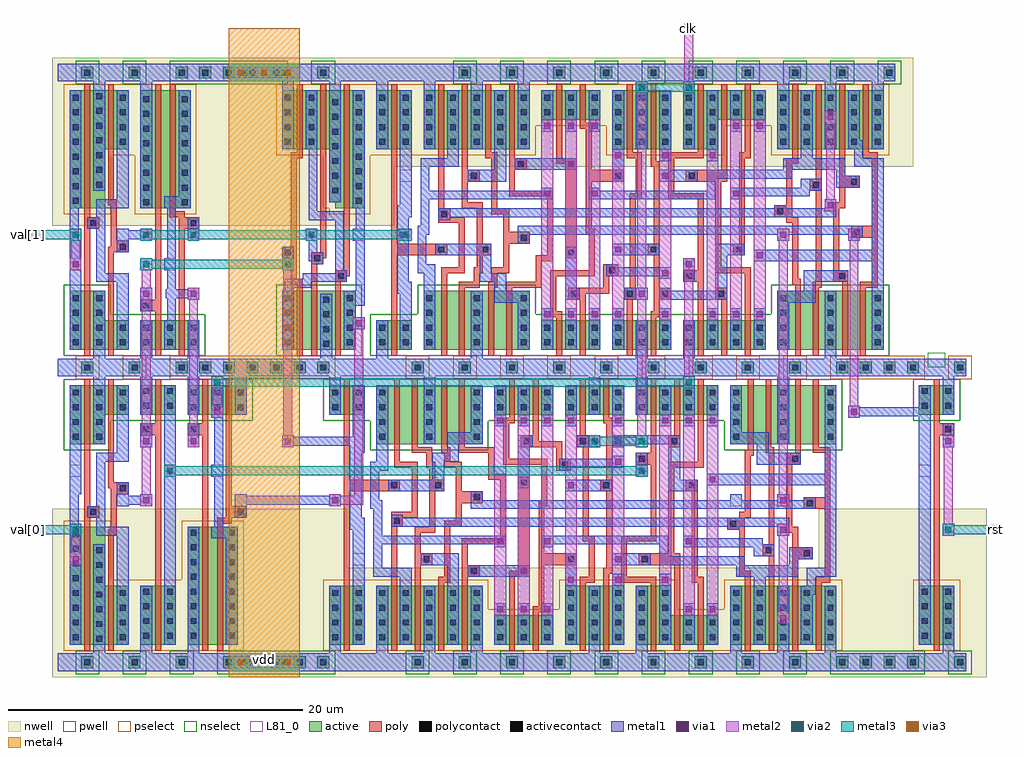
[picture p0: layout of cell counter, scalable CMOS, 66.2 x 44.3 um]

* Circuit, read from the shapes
.subckt counter clk gnd rst val[0] val[1] vdd
M1 gnd n1 val[0] gnd nfet w=4u l=0.4u
M2 gnd n2 val[1] gnd nfet w=4u l=0.4u
M3 n1 BUFX2_1/A gnd gnd nfet w=2u l=0.4u
M4 n2 BUFX2_0/A gnd gnd nfet w=2u l=0.4u
M5 DFFSR_17/D BUFX2_1/A gnd gnd nfet w=2u l=0.4u
M6 NOR2X1_3/A BUFX2_1/A gnd gnd nfet w=2u l=0.4u
M7 gnd BUFX2_0/A NOR2X1_3/A gnd nfet w=2u l=0.4u
M8 DFFSR_16/D NOR2X1_3/A gnd gnd nfet w=2u l=0.4u
M9 gnd n3 DFFSR_16/D gnd nfet w=2u l=0.4u
M10 n4 BUFX2_1/A n5 gnd nfet w=4u l=0.4u
M11 gnd BUFX2_0/A n4 gnd nfet w=4u l=0.4u
M12 n3 n5 gnd gnd nfet w=4u l=0.4u
M13 BUFX2_1/A n6 gnd gnd nfet w=2u l=0.4u
M14 BUFX2_0/A n7 gnd gnd nfet w=2u l=0.4u
M15 n8 vdd n9 gnd nfet w=4u l=0.4u
M16 gnd n6 n8 gnd nfet w=4u l=0.4u
M17 n10 DFFSR_16/R gnd gnd nfet w=4u l=0.4u
M18 n11 vdd n12 gnd nfet w=4u l=0.4u
M19 n6 n13 n10 gnd nfet w=4u l=0.4u
M20 gnd n7 n11 gnd nfet w=4u l=0.4u
M21 n14 DFFSR_16/R gnd gnd nfet w=4u l=0.4u
M22 n7 n15 n14 gnd nfet w=4u l=0.4u
M23 n13 n16 n9 gnd nfet w=2u l=0.4u
M24 n17 n18 n13 gnd nfet w=2u l=0.4u
M25 n15 n19 n12 gnd nfet w=2u l=0.4u
M26 gnd clk n16 gnd nfet w=2u l=0.4u
M27 n20 n21 n15 gnd nfet w=2u l=0.4u
M28 n18 n16 gnd gnd nfet w=2u l=0.4u
M29 gnd clk n19 gnd nfet w=2u l=0.4u
M30 n22 DFFSR_17/D gnd gnd nfet w=2u l=0.4u
M31 n21 n19 gnd gnd nfet w=2u l=0.4u
M32 n23 n16 n22 gnd nfet w=2u l=0.4u
M33 n24 n18 n23 gnd nfet w=2u l=0.4u
M34 n25 DFFSR_16/D gnd gnd nfet w=2u l=0.4u
M35 n26 n19 n25 gnd nfet w=2u l=0.4u
M36 n27 n21 n26 gnd nfet w=2u l=0.4u
M37 n28 vdd n17 gnd nfet w=4u l=0.4u
M38 gnd n23 n28 gnd nfet w=4u l=0.4u
M39 n29 n17 gnd gnd nfet w=4u l=0.4u
M40 n30 vdd n20 gnd nfet w=4u l=0.4u
M41 n24 DFFSR_16/R n29 gnd nfet w=4u l=0.4u
M42 gnd n26 n30 gnd nfet w=4u l=0.4u
M43 n31 n20 gnd gnd nfet w=4u l=0.4u
M44 n27 DFFSR_16/R n31 gnd nfet w=4u l=0.4u
M45 gnd rst DFFSR_16/R gnd nfet w=2u l=0.4u
M46 vdd n1 val[0] vdd pfet w=8u l=0.4u
M47 vdd n2 val[1] vdd pfet w=8u l=0.4u
M48 n1 BUFX2_1/A vdd vdd pfet w=4u l=0.4u
M49 n2 BUFX2_0/A vdd vdd pfet w=4u l=0.4u
M50 DFFSR_17/D BUFX2_1/A vdd vdd pfet w=4u l=0.4u
M51 n32 BUFX2_1/A vdd vdd pfet w=8u l=0.4u
M52 NOR2X1_3/A BUFX2_0/A n32 vdd pfet w=8u l=0.4u
M53 n33 NOR2X1_3/A vdd vdd pfet w=8u l=0.4u
M54 DFFSR_16/D n3 n33 vdd pfet w=8u l=0.4u
M55 n5 BUFX2_1/A vdd vdd pfet w=4u l=0.4u
M56 vdd BUFX2_0/A n5 vdd pfet w=4u l=0.4u
M57 BUFX2_1/A n6 vdd vdd pfet w=4u l=0.4u
M58 n3 n5 vdd vdd pfet w=8u l=0.4u
M59 n9 vdd vdd vdd pfet w=4u l=0.4u
M60 BUFX2_0/A n7 vdd vdd pfet w=4u l=0.4u
M61 vdd n6 n9 vdd pfet w=4u l=0.4u
M62 n6 DFFSR_16/R vdd vdd pfet w=4u l=0.4u
M63 n12 vdd vdd vdd pfet w=4u l=0.4u
M64 vdd n13 n6 vdd pfet w=4u l=0.4u
M65 vdd n7 n12 vdd pfet w=4u l=0.4u
M66 n7 DFFSR_16/R vdd vdd pfet w=4u l=0.4u
M67 n13 n18 n9 vdd pfet w=2u l=0.4u
M68 vdd n15 n7 vdd pfet w=4u l=0.4u
M69 n17 n16 n13 vdd pfet w=2u l=0.4u
M70 n15 n21 n12 vdd pfet w=2u l=0.4u
M71 vdd clk n16 vdd pfet w=4u l=0.4u
M72 n20 n19 n15 vdd pfet w=2u l=0.4u
M73 n18 n16 vdd vdd pfet w=4u l=0.4u
M74 vdd clk n19 vdd pfet w=4u l=0.4u
M75 n22 DFFSR_17/D vdd vdd pfet w=4u l=0.4u
M76 n21 n19 vdd vdd pfet w=4u l=0.4u
M77 n23 n18 n22 vdd pfet w=2u l=0.4u
M78 n24 n16 n23 vdd pfet w=2u l=0.4u
M79 n25 DFFSR_16/D vdd vdd pfet w=4u l=0.4u
M80 n26 n21 n25 vdd pfet w=2u l=0.4u
M81 n17 vdd vdd vdd pfet w=4u l=0.4u
M82 n27 n19 n26 vdd pfet w=2u l=0.4u
M83 vdd n23 n17 vdd pfet w=4u l=0.4u
M84 n24 n17 vdd vdd pfet w=4u l=0.4u
M85 n20 vdd vdd vdd pfet w=4u l=0.4u
M86 vdd DFFSR_16/R n24 vdd pfet w=4u l=0.4u
M87 vdd n26 n20 vdd pfet w=4u l=0.4u
M88 n27 n20 vdd vdd pfet w=4u l=0.4u
M89 vdd DFFSR_16/R n27 vdd pfet w=4u l=0.4u
M90 vdd rst DFFSR_16/R vdd pfet w=4u l=0.4u
.ends

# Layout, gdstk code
from math import pi, radians
import gdstk
lib = gdstk.Library(unit=1e-6, precision=1e-09)
def R(c, l, rs):  # rectangles x0, y0, x1, y1
    for r in rs: c.add(gdstk.rectangle(r[:2], r[2:], *l))
def A(c, l, x, y, w, h, nx, ny, dx, dy):  # array of equal rectangles
    R(c, l, [(x+i*dx, y+j*dy, x+i*dx+w, y+j*dy+h) for i in range(nx) for j in range(ny)])
via3 = (30, 0)
metal4 = (31, 0)
pwell = (41, 0)
nwell = (42, 0)
active = (43, 0)
pselect = (44, 0)
nselect = (45, 0)
poly = (46, 0)
polycontact = (47, 0)
activecontact = (48, 0)
metal1 = (49, 0)
via1 = (50, 0)
metal2 = (51, 0)
via2 = (61, 0)
metal3 = (62, 0)
L81_0 = (81, 0)

bufx2 = lib.new_cell('BUFX2')
R(bufx2, nwell, [(-1,9.6,5.6,21)])
R(bufx2, active, [(-0.4,-0.4,0.4,0.4), (2.8,-0.4,3.6,0.4), (0.4,1.2,4.4,3.2), (2,3.2,4.4,5.2), (2,10.8,4.4,14.8), (0.4,14.8,4.4,18.8), (-0.4,19.6,0.4,20.4), (2.8,19.6,3.6,20.4)])
R(bufx2, pselect, [(-0.8,-0.8,0.8,0.8), (2.4,-0.8,4,0.8), (1.6,10.4,4.8,14.4), (0,14.4,4.8,19.2)])
R(bufx2, nselect, [(0,0.8,4.8,3.6), (1.6,3.6,4.8,5.6), (-0.8,19.2,0.8,20.8), (2.4,19.2,4,20.8)])
R(bufx2, poly, [(1.4,0.8,1.8,7.8), (3,0.8,3.4,9.4), (0.4,7.8,1.8,8.2), (0.4,8.2,1.6,8.6), (1.2,8.6,1.6,11), (2.4,9.4,3.4,10.2), (3,10.2,3.4,19.2), (1.2,11,1.8,11.4), (1.4,11.4,1.8,19.2)])
R(bufx2, polycontact, [(0.6,8,1,8.4), (2.6,9.6,3,10)])
A(bufx2, activecontact, 0.6, 1.5, 0.4, 0.4, 3, 2, 1.6, 1)
A(bufx2, activecontact, 3.8, 11.1, 0.4, 0.4, 1, 8, 0, 1)
A(bufx2, activecontact, 2.2, 12.2, 0.4, 0.4, 1, 7, 0, 1)
A(bufx2, activecontact, 0.6, 15.1, 0.4, 0.4, 1, 4, 0, 1)
R(bufx2, activecontact, [(-0.2,-0.2,0.2,0.2), (3,-0.2,3.4,0.2), (2.2,3.5,2.6,3.9), (3.8,3.5,4.2,3.9), (2.2,4.5,2.6,4.9), (3.8,4.5,4.2,4.9), (-0.2,19.8,0.2,20.2), (3,19.8,3.4,20.2)])
R(bufx2, metal1, [(-0.4,-0.6,5.2,0.6), (2,0.6,2.8,5.2), (0.4,1.2,1.2,5.8), (3.6,1.2,4.4,8.6), (0.4,5.8,2.6,6.4), (2,6.4,2.6,9.4), (0.4,7.8,1.2,9.4), (3.8,8.6,4.4,10.8), (2,9.4,3.2,10.2), (2,10.2,2.6,10.8), (0.4,10.8,2.6,11.4), (3.6,10.8,4.4,18.8), (0.4,11.4,1.2,18.8), (2,12,2.8,19.4), (-0.4,19.4,5.2,20.6)])
R(bufx2, L81_0, [(3.6,6.6,4.4,7.4), (0.4,8.6,1.2,9.4)])
bufx2.add(gdstk.Label('vdd', (0.8,20), layer=109, texttype=0))
bufx2.add(gdstk.Label('gnd', (0.8,0), layer=109, texttype=0))
bufx2.add(gdstk.Label('A', (0.8,9), layer=109, texttype=0))
bufx2.add(gdstk.Label('Y', (4,7), layer=109, texttype=0))

nor2x1 = lib.new_cell('NOR2X1')
R(nor2x1, nwell, [(-1.6,9.6,6.4,21)])
R(nor2x1, active, [(-0.4,-0.4,0.4,0.4), (2.8,-0.4,3.6,0.4), (0.4,1.2,4.4,3.2), (0.4,10.8,3.8,18.8), (-0.4,19.6,0.4,20.4), (2.8,19.6,3.6,20.4)])
R(nor2x1, pselect, [(-0.8,-0.8,0.8,0.8), (2.4,-0.8,4,0.8), (0,10.4,4.2,19.2)])
R(nor2x1, nselect, [(0,0.8,4.8,3.6), (-0.8,19.2,0.8,20.8), (2.4,19.2,4,20.8)])
R(nor2x1, poly, [(1.4,0.8,1.8,3.8), (3,0.8,3.4,9.4), (0.4,3.8,1.8,4.6), (1.4,4.6,1.8,19.2), (3,9.4,4.4,10.2), (2.4,10.2,3.4,10.6), (2.4,10.6,2.8,19.2)])
R(nor2x1, polycontact, [(0.6,4,1,4.4), (3.8,9.6,4.2,10)])
A(nor2x1, activecontact, 0.6, 1.5, 0.4, 0.4, 3, 2, 1.6, 1)
A(nor2x1, activecontact, 0.6, 11, 0.4, 0.4, 1, 8, 0, 1)
A(nor2x1, activecontact, 3.2, 11, 0.4, 0.4, 1, 8, 0, 1)
R(nor2x1, activecontact, [(-0.2,-0.2,0.2,0.2), (3,-0.2,3.4,0.2), (-0.2,19.8,0.2,20.2), (3,19.8,3.4,20.2)])
R(nor2x1, metal1, [(-0.4,-0.6,5.2,0.6), (0.4,0.6,1.2,3.2), (3.6,0.6,4.4,3.2), (2,1.2,2.8,3.2), (2.2,3.2,2.8,6.6), (0.4,3.8,1.2,5.4), (2,6.6,2.8,7.4), (2.2,7.4,2.8,10.8), (3.6,8.6,4.4,10.2), (0.4,10.8,1.2,19.4), (2,10.8,3.8,11.6), (3,11.6,3.8,18.8), (-0.4,19.4,5.2,20.6)])
R(nor2x1, L81_0, [(0.4,4.6,1.2,5.4), (2,6.6,2.8,7.4), (3.6,8.6,4.4,9.4)])
nor2x1.add(gdstk.Label('vdd', (0.8,20), layer=109, texttype=0))
nor2x1.add(gdstk.Label('B', (4,9), layer=109, texttype=0))
nor2x1.add(gdstk.Label('gnd', (0.8,0), layer=109, texttype=0))
nor2x1.add(gdstk.Label('Y', (2.4,7), layer=109, texttype=0))
nor2x1.add(gdstk.Label('A', (0.8,5), layer=109, texttype=0))

fill = lib.new_cell('FILL')
R(fill, nwell, [(-1.6,9.6,3.2,21)])
R(fill, active, [(-0.4,-0.4,0.4,0.4), (1.2,-0.4,2,0.4), (-0.4,19.6,0.4,20.4), (1.2,19.6,2,20.4)])
R(fill, pselect, [(-0.8,-0.8,2.4,0.8)])
R(fill, nselect, [(-0.8,19.2,2.4,20.8)])
R(fill, activecontact, [(-0.2,-0.2,0.2,0.2), (1.4,-0.2,1.8,0.2), (-0.2,19.8,0.2,20.2), (1.4,19.8,1.8,20.2)])
R(fill, metal1, [(-0.4,-0.6,2,0.6), (-0.4,19.4,2,20.6)])
fill.add(gdstk.Label('vdd', (0.8,20), layer=109, texttype=0))
fill.add(gdstk.Label('gnd', (0.8,0), layer=109, texttype=0))

invx1 = lib.new_cell('INVX1')
R(invx1, nwell, [(-1.8,9.6,5.2,21)])
R(invx1, active, [(-0.4,-0.4,0.4,0.4), (0.4,1.2,2.8,3.2), (0.4,14.8,2.8,18.8), (-0.4,19.6,0.4,20.4)])
R(invx1, pselect, [(-0.8,-0.8,0.8,0.8), (0,14.4,3.2,19.2)])
R(invx1, nselect, [(0,0.8,3.2,3.6), (-0.8,19.2,0.8,20.8)])
R(invx1, poly, [(1.4,0.8,1.8,3.8), (0.4,3.8,1.8,4.6), (1.4,4.6,1.8,19.2)])
R(invx1, polycontact, [(0.6,4,1,4.4)])
A(invx1, activecontact, 0.6, 15, 0.4, 0.4, 1, 4, 0, 1)
A(invx1, activecontact, 2.2, 15, 0.4, 0.4, 1, 4, 0, 1)
R(invx1, activecontact, [(-0.2,-0.2,0.2,0.2), (0.6,1.4,1,1.8), (2.2,1.4,2.6,1.8), (0.6,2.4,1,2.8), (2.2,2.4,2.6,2.8), (-0.2,19.8,0.2,20.2)])
R(invx1, metal1, [(-0.4,-0.6,3.6,0.6), (0.4,0.6,1.2,3.2), (2,1.2,2.8,18.8), (0.4,3.8,1.2,5.4), (0.4,14.8,1.2,19.4), (-0.4,19.4,3.6,20.6)])
R(invx1, L81_0, [(0.4,4.6,1.2,5.4), (2,6.6,2.8,7.4)])
invx1.add(gdstk.Label('A', (0.8,5), layer=109, texttype=0))
invx1.add(gdstk.Label('Y', (2.4,7), layer=109, texttype=0))
invx1.add(gdstk.Label('vdd', (0.8,20), layer=109, texttype=0))
invx1.add(gdstk.Label('gnd', (0.8,0), layer=109, texttype=0))

and2x2 = lib.new_cell('AND2X2')
R(and2x2, nwell, [(-1.6,9.6,8,21)])
R(and2x2, active, [(-0.4,-0.4,0.4,0.4), (2.8,-0.4,3.6,0.4), (0.4,1.2,5.4,5.2), (4,10.8,6,11.2), (3.6,11.2,6,14.8), (0.4,14.8,6,18.8), (-0.4,19.6,0.4,20.4), (2.8,19.6,3.6,20.4)])
R(and2x2, pselect, [(-0.8,-0.8,0.8,0.8), (2.4,-0.8,4,0.8), (3.6,10.4,6.4,10.8), (3.2,10.8,6.4,14.4), (0,14.4,6.4,19.2)])
R(and2x2, nselect, [(0,0.8,5.8,5.6), (-0.8,19.2,0.8,20.8), (2.4,19.2,4,20.8)])
R(and2x2, poly, [(1.4,0.8,1.8,5.6), (2.4,0.8,2.8,7), (4,0.8,4.4,5.8), (1,5.6,1.8,6), (4,5.8,4.8,6.2), (1,6,1.4,7.4), (4,6.2,5,6.6), (4.6,6.6,5,19.2), (2.4,7,3.2,7.4), (0.4,7.4,1.4,8.2), (2.4,7.4,3.4,7.8), (3,7.8,3.4,19.2), (1,8.2,1.4,14.2), (1,14.2,1.8,14.6), (1.4,14.6,1.8,19.2)])
R(and2x2, polycontact, [(4.2,6,4.6,6.4), (2.6,7.2,3,7.6), (0.6,7.6,1,8)])
A(and2x2, activecontact, 3.2, 1.4, 0.4, 0.4, 1, 4, 0, 1)
A(and2x2, activecontact, 0.6, 1.5, 0.4, 0.4, 1, 4, 0, 1)
A(and2x2, activecontact, 4.8, 1.5, 0.4, 0.4, 1, 4, 0, 1)
A(and2x2, activecontact, 5.4, 11.1, 0.4, 0.4, 1, 8, 0, 1)
A(and2x2, activecontact, 3.8, 11.8, 0.4, 0.4, 1, 7, 0, 1)
A(and2x2, activecontact, 0.6, 15.1, 0.4, 0.4, 1, 4, 0, 1)
A(and2x2, activecontact, 2.2, 15.1, 0.4, 0.4, 1, 4, 0, 1)
R(and2x2, activecontact, [(-0.2,-0.2,0.2,0.2), (3,-0.2,3.4,0.2), (-0.2,19.8,0.2,20.2), (3,19.8,3.4,20.2)])
R(and2x2, metal1, [(-0.4,-0.6,6.8,0.6), (3,0.6,3.8,5), (0.4,1.2,1.2,5.2), (4.6,1.2,5.4,4.2), (4.6,4.2,6,5.2), (0.6,5.2,1.2,5.4), (5.4,5.2,6,8.6), (0.6,5.4,2.4,5.8), (0.6,5.8,4.8,6), (1.8,6,4.8,6.4), (4,6.4,4.8,6.6), (0.4,6.6,1.2,8.2), (4,6.6,4.6,10), (2.4,7,3.2,7.2), (2.2,7.2,3.2,7.8), (2.2,7.8,2.8,8.6), (2,8.6,2.8,9.4), (5.2,8.6,6,9.4), (5.4,9.4,6,10.8), (2.2,10,4.6,10.6), (2.2,10.6,2.8,14.8), (5.2,10.8,6,18.8), (3.6,11.2,4.4,19.4), (0.4,14.8,1.2,19.4), (2,14.8,2.8,18.8), (-0.4,19.4,6.8,20.6)])
R(and2x2, L81_0, [(0.4,6.6,1.2,7.4), (2,8.6,2.8,9.4), (5.2,8.6,6,9.4)])
and2x2.add(gdstk.Label('vdd', (0.8,20), layer=109, texttype=0))
and2x2.add(gdstk.Label('gnd', (0.8,0), layer=109, texttype=0))
and2x2.add(gdstk.Label('A', (0.8,7), layer=109, texttype=0))
and2x2.add(gdstk.Label('B', (2.4,9), layer=109, texttype=0))
and2x2.add(gdstk.Label('Y', (5.6,9), layer=109, texttype=0))

dffsr = lib.new_cell('DFFSR')
R(dffsr, nwell, [(-1.6,13.6,36.8,21)])
A(dffsr, active, -0.4, -0.4, 0.8, 0.8, 10, 2, 3.2, 20)
R(dffsr, active, [(0.4,1.2,7.6,5.2), (8.4,1.2,14,3.2), (14.8,1.2,18.8,3.2), (19.6,1.2,23.6,3.2), (24.4,1.2,31.6,5.2), (32.4,1.2,34.8,3.2), (0.4,14.8,7.6,18.8), (11.6,14.8,14,16.8), (14.8,14.8,18.8,18.8), (24.4,14.8,31.6,18.8), (32.4,14.8,34.8,18.8), (8.4,16.8,14,18.8), (19.6,16.8,23.6,18.8)])
A(dffsr, pselect, -0.8, -0.8, 1.6, 1.6, 10, 1, 3.2, 0)
R(dffsr, pselect, [(0,14.4,8,16.4), (11.2,14.4,19.2,16.4), (24,14.4,35.2,16.4), (0,16.4,35.2,19.2)])
A(dffsr, nselect, -0.8, 19.2, 1.6, 1.6, 10, 1, 3.2, 0)
R(dffsr, nselect, [(0,0.8,35.2,3.6), (0,3.6,8,5.6), (24,3.6,32,5.6)])
R(dffsr, poly, [(1.6,0.8,2,5.4), (2.8,0.8,3.2,5.8), (4.8,0.8,5.2,5.4), (6,0.8,6.4,5.6), (9.4,0.8,9.8,6.4), (11,0.8,11.4,4.6), (12.6,0.8,13,5.8), (15.8,0.8,16.2,3.4), (17.4,0.8,17.8,4.6), (20.6,0.8,21,4.6), (22.2,0.8,22.6,3.4), (25.6,0.8,26,5.4), (26.8,0.8,27.2,5.4), (28.8,0.8,29.2,5.4), (30,0.8,30.4,6.4), (33.4,0.8,33.8,7.6), (15.6,3.4,16.2,3.8), (22.2,3.4,23,3.8), (15.6,3.8,16,4.6), (22.6,3.8,23,6.2), (11,4.6,11.8,5.4), (14.8,4.6,16,5.4), (17.2,4.6,18,5.4), (20.6,4.6,21.8,5), (19,5,21.8,5.4), (0.8,5.4,2,5.8), (4.6,5.4,5.2,5.8), (15.6,5.4,16,7.6), (17.2,5.4,17.6,11.4), (19,5.4,19.4,6.2), (23.6,5.4,26,5.8), (26.6,5.4,27.2,5.8), (27.8,5.4,29.2,5.8), (6,5.6,6.6,6), (0.8,5.8,1.2,8.8), (2.8,5.8,3.8,6.6), (4.6,5.8,5,12), (12.6,5.8,14,6.6), (23.6,5.8,24,7.2), (26.6,5.8,27,6.4), (27.8,5.8,28.2,6.4), (6.2,6,6.6,9.8), (18.4,6.2,19.4,7), (20,6.2,23,6.6), (9.4,6.4,11.8,6.8), (25.8,6.4,27,6.8), (27.6,6.4,28.2,6.8), (28.8,6.4,30.4,6.8), (3.4,6.6,3.8,10.8), (12.6,6.6,13,11.4), (20,6.6,20.4,9), (11.4,6.8,11.8,12.6), (25.8,6.8,26.2,8.4), (27.6,6.8,28,7.6), (28.8,6.8,29.2,9.8), (22.8,7.2,24,7.6), (21.2,7.4,22,13.8), (9.8,7.6,10.6,8.4), (15.6,7.6,16.4,8.4), (22.8,7.6,23.2,11.6), (27,7.6,28,8.4), (30,7.6,33.8,8.4), (9.8,8.4,10.2,14.2), (15.6,8.4,16,13.6), (24.4,8.4,26.2,9.2), (27.6,8.4,28,10.8), (33.4,8.4,33.8,19.2), (0.8,8.8,2.6,9.6), (20,9,20.6,9.4), (25.8,9.2,26.2,10.4), (20.2,9.4,20.6,12.6), (0.8,9.6,1.2,14.2), (6.2,9.8,7,10.2), (28.8,9.8,30.6,10.2), (6.6,10.2,7.8,11), (29.8,10.2,30.6,10.8), (25.8,10.4,27,10.8), (3,10.8,3.8,11.2), (26.6,10.8,27,14.2), (27.6,10.8,29,11.2), (30.2,10.8,30.6,19.2), (6.6,11,7,13.8), (3,11.2,3.4,12.2), (28.6,11.2,29,12.6), (12.6,11.4,15,11.8), (16.8,11.4,17.6,11.8), (22.8,11.6,25.8,12), (14.6,11.8,15,14.2), (16.8,11.8,17.2,14.2), (4.6,12,5.4,12.8), (25.4,12,25.8,13.4), (2,12.2,3.4,13), (11,12.6,13.8,13.4), (18,12.6,20.6,13.4), (27.8,12.6,29,13.4), (4.6,12.8,5,19.2), (3,13,3.4,19.2), (11,13.4,11.4,19.2), (20.2,13.4,20.6,16.2), (24.6,13.4,25.8,14.2), (28.6,13.4,29,19.2), (15.6,13.6,16.2,14), (6.2,13.8,7,14.2), (21.2,13.8,22.6,14.2), (15.8,14,16.2,19.2), (0.8,14.2,1.8,14.6), (6.2,14.2,6.6,19.2), (9.4,14.2,10.2,14.6), (12.6,14.2,15,14.6), (16.8,14.2,17.8,14.6), (22.2,14.2,22.6,19.2), (25.4,14.2,25.8,19.2), (26.6,14.2,27.4,14.6), (1.4,14.6,1.8,19.2), (9.4,14.6,9.8,19.2), (12.6,14.6,13,19.2), (17.4,14.6,17.8,19.2), (27,14.6,27.4,19.2), (20.2,16.2,21,16.6), (20.6,16.6,21,19.2)])
R(dffsr, polycontact, [(11.2,4.8,11.6,5.2), (15,4.8,15.4,5.2), (17.4,4.8,17.8,5.2), (21.2,4.8,21.6,5.2), (3,6,3.4,6.4), (13.4,6,13.8,6.4), (18.6,6.4,19,6.8), (21.4,7.6,21.8,8), (10,7.8,10.4,8.2), (15.8,7.8,16.2,8.2), (27.2,7.8,27.6,8.2), (30.2,7.8,30.6,8.2), (24.6,8.6,25,9), (2,9,2.4,9.4), (30,10.2,30.4,10.6), (7.2,10.4,7.6,10.8), (4.8,12.2,5.2,12.6), (2.2,12.4,2.6,12.8), (13.2,12.8,13.6,13.2), (18.2,12.8,18.6,13.2), (28,12.8,28.4,13.2), (24.8,13.6,25.2,14)])
A(dffsr, activecontact, -0.2, -0.2, 0.4, 0.4, 10, 2, 3.2, 20)
A(dffsr, activecontact, 0.6, 1.5, 0.4, 0.4, 3, 4, 3.2, 1)
A(dffsr, activecontact, 8.6, 1.5, 0.4, 0.4, 11, 2, 1.6, 1)
A(dffsr, activecontact, 31, 1.5, 0.4, 0.4, 3, 2, 1.6, 1)
A(dffsr, activecontact, 24.6, 3.5, 0.4, 0.4, 3, 2, 3.2, 1)
A(dffsr, activecontact, 0.6, 15.1, 0.4, 0.4, 5, 2, 1.6, 1)
A(dffsr, activecontact, 11.8, 15.1, 0.4, 0.4, 5, 2, 1.6, 1)
A(dffsr, activecontact, 24.6, 15.1, 0.4, 0.4, 7, 2, 1.6, 1)
A(dffsr, activecontact, 0.6, 17.1, 0.4, 0.4, 22, 2, 1.6, 1)
R(dffsr, activecontact, [(27.8,1.5,28.2,1.9), (27.8,2.5,28.2,2.9)])
A(dffsr, metal1, 8.4, 1.2, 0.8, 2.8, 3, 1, 1.6, 0)
A(dffsr, metal1, 18, 1.2, 0.8, 2.8, 4, 1, 1.6, 0)
A(dffsr, metal1, 0.4, 14.8, 0.8, 4.6, 3, 1, 3.2, 0)
A(dffsr, metal1, 24.4, 14.8, 0.8, 4.6, 4, 1, 3.2, 0)
A(dffsr, metal1, 19.6, 16, 0.8, 2.8, 3, 1, 1.6, 0)
R(dffsr, metal1, [(-0.4,-0.6,35.6,0.6), (3.6,0.6,4.4,5.2), (13.2,0.6,14,3.2), (16.4,0.6,17.2,3.2), (27.6,0.6,28.4,5.2), (34,0.6,34.8,3.2), (0.4,1.2,1.2,7.2), (6.8,1.2,7.6,4.4), (14.8,1.2,15.6,4), (24.4,1.2,25.2,4.4), (30.8,1.2,31.6,6.4), (32.4,1.2,33.2,5), (5,4.4,7.6,5.2), (24.4,4.4,26.8,5.2), (11,4.6,15.6,5.2), (16.4,4.6,18,5.4), (21,4.6,22,5.4), (32.4,5,33.4,5.8), (5,5.2,5.8,5.8), (11,5.2,11.8,7.6), (14.8,5.2,15.6,5.4), (26,5.2,26.8,5.8), (21.2,5.4,22,8.2), (2.8,5.8,5.8,6.6), (13.2,5.8,14,7.4), (26,5.8,27.8,6.4), (32.6,5.8,33.4,10.2), (14.8,6,15.6,6.2), (14.8,6.2,19.2,6.8), (27,6.4,27.8,7.6), (30.8,6.4,32,7), (18.4,6.8,19.2,7), (31.4,7,32,9), (0.4,7.2,9.2,8), (9.8,7.6,11.8,8.4), (15.6,7.6,18.8,8.4), (27,7.6,30.8,8.4), (0.4,8,1.2,13.6), (24.4,8.4,25.2,9), (6.8,8.6,7.6,9), (1.8,8.8,2.6,9), (1.8,9,25.2,9.6), (31.2,9,32,9.6), (31.2,9.6,31.8,11.4), (29.8,10,30.6,10.2), (3.6,10.2,30.6,10.8), (32.4,10.2,33.4,11), (3.6,10.8,4.4,11.4), (7,10.8,7.8,11), (32.4,11,33.2,18.8), (10,11.4,10.8,11.6), (11.8,11.4,20.4,12), (22.8,11.4,31.8,12), (5.4,11.6,10.8,12), (4.6,12,10.8,12.2), (11.8,12,12.4,12.8), (19.6,12,20.4,12.2), (22.8,12,23.6,12.2), (31.2,12,31.8,13.6), (2,12.2,3.6,13), (4.6,12.2,6,12.8), (13,12.6,15.6,13.4), (18,12.6,18.8,18.8), (26,12.6,28.6,13.4), (6.6,12.8,12.4,13.4), (3,13,3.6,13.4), (3,13.4,7.2,14.2), (21.2,13.4,25.4,14.2), (26,13.4,26.8,18.8), (0.4,13.6,2.4,14.2), (29.2,13.6,31.8,14.2), (11.6,14,12.4,18.8), (14.8,14,15.6,18.8), (1.8,14.2,2.4,14.8), (5.2,14.2,6,18.8), (29.2,14.2,30,18.8), (1.8,14.8,2.8,15.4), (13.2,14.8,14,19.4), (16.4,14.8,17.2,19.4), (2,15.4,2.8,18.8), (8.4,16,9.2,18.8), (10,16,10.8,18.8), (-0.4,19.4,35.6,20.6)])
A(dffsr, via1, 8.6, 3.4, 0.4, 0.4, 3, 1, 1.6, 0)
A(dffsr, via1, 18.2, 3.4, 0.4, 0.4, 4, 1, 1.6, 0)
A(dffsr, via1, 11.8, 14.2, 0.4, 0.4, 3, 1, 3.2, 0)
A(dffsr, via1, 19.8, 16.2, 0.4, 0.4, 3, 1, 1.6, 0)
R(dffsr, via1, [(15,3.4,15.4,3.8), (15,6.2,15.4,6.6), (8.6,7.4,9,7.8), (18.2,7.8,18.6,8.2), (10.2,11.6,10.6,12), (19.8,11.6,20.2,12), (23,11.6,23.4,12), (15,12.8,15.4,13.2), (21.4,13.6,21.8,14), (8.6,16.2,9,16.6), (10.2,16.2,10.6,16.6)])
A(dffsr, metal2, 11.6, 3.2, 0.8, 11.6, 3, 1, 3.2, 0)
A(dffsr, metal2, 19.6, 3.2, 0.8, 13.6, 3, 1, 1.6, 0)
R(dffsr, metal2, [(8.4,3.2,9.2,16.8), (10,3.2,10.8,16.8)])
R(dffsr, L81_0, [(16.4,4.6,17.2,5.4), (13.2,6.6,14,7.4), (6.8,8.6,7.6,9.4), (3.6,10.6,4.4,11.4), (32.4,12.6,33.2,13.4)])
dffsr.add(gdstk.Label('gnd', (0.8,0), layer=109, texttype=0))
dffsr.add(gdstk.Label('vdd', (0.8,20), layer=109, texttype=0))
dffsr.add(gdstk.Label('D', (13.6,7), layer=109, texttype=0))
dffsr.add(gdstk.Label('S', (4,11), layer=109, texttype=0))
dffsr.add(gdstk.Label('R', (7.2,9), layer=109, texttype=0))
dffsr.add(gdstk.Label('Q', (32.8,13), layer=109, texttype=0))
dffsr.add(gdstk.Label('CLK', (16.8,5), layer=109, texttype=0))

counter = lib.new_cell('counter')
A(counter, via3, 12.6, 0.8, 0.4, 0.4, 3, 2, 1.6, 40)
R(counter, metal4, [(12,0,16.8,44)])
R(counter, pwell, [(59.4,21,60.6,22)])
R(counter, metal1, [(12,0.6,16.8,1.4), (49.2,3.6,50,4.4), (1.2,7.6,2,8.4), (49.2,9.6,50,10.4), (6,11.6,6.8,11.7), (18.8,11.6,19.6,11.7), (49.2,11.6,50,12.4), (4.5,11.7,6.8,12.3), (12.5,11.7,19.6,12.3), (6,12.3,6.8,12.4), (18.8,12.3,19.6,12.4), (7.6,13.6,8.4,14.4), (39.6,13.6,40.4,14.4), (6,15.6,6.8,16.4), (9.2,15.6,10,16.4), (15.6,15.6,16.4,15.7), (36.4,15.6,37.2,16.4), (60.4,15.6,61.2,16.4), (15.6,15.7,21.1,16.3), (15.6,16.3,16.4,16.4), (10.8,17.6,11.6,18.4), (54,17.6,54.8,17.7), (54,17.7,59.5,18.3), (54,18.3,54.8,18.4), (20.4,23.6,21.2,24.4), (6,25.6,6.8,26.4), (9.2,25.6,10,25.7), (39.6,25.6,40.4,26.4), (7.7,25.7,10,26.3), (9.2,26.3,10,26.4), (1.2,27.6,2,28.4), (15.6,27.6,16.4,28.4), (42.8,27.6,43.6,28.4), (6,29.6,6.8,29.7), (9.2,29.6,10,30.4), (17.2,29.6,18,30.4), (23.4,29.6,24.2,30.4), (49.2,29.6,50,30.4), (54,29.6,54.8,30.4), (4.5,29.7,6.8,30.3), (6,30.3,6.8,30.4), (52.4,31.6,53.2,32.4), (52.4,37.6,53.2,38.4), (12,40.6,16.8,41.4)])
A(counter, via1, 12.8, 0.8, 0.4, 0.4, 3, 2, 1.4, 40)
R(counter, via1, [(49.4,3.8,49.8,4.2), (1.4,7.8,1.8,8.2), (49.4,9.8,49.8,10.2), (6.2,11.8,6.6,12.2), (19,11.8,19.4,12.2), (49.4,11.8,49.8,12.2), (7.8,13.8,8.2,14.2), (39.8,13.8,40.2,14.2), (6.2,15.8,6.6,16.2), (9.4,15.8,9.8,16.2), (15.8,15.8,16.2,16.2), (36.6,15.8,37,16.2), (60.6,15.8,61,16.2), (11,17.8,11.4,18.2), (54.2,17.8,54.6,18.2), (20.6,23.8,21,24.2), (6.2,25.8,6.6,26.2), (9.4,25.8,9.8,26.2), (39.8,25.8,40.2,26.2), (1.4,27.8,1.8,28.2), (15.8,27.8,16.2,28.2), (43,27.8,43.4,28.2), (6.2,29.8,6.6,30.2), (9.4,29.8,9.8,30.2), (17.4,29.8,17.8,30.2), (23.6,29.8,24,30.2), (49.4,29.8,49.8,30.2), (54.2,29.8,54.6,30.2), (52.6,31.8,53,32.2), (52.6,37.8,53,38.2)])
A(counter, metal2, 6, 25.6, 0.8, 0.8, 1, 3, 0, 2)
R(counter, metal2, [(12,0.6,16.8,1.4), (49.2,3.6,50,4.4), (49.3,4.4,49.9,9.6), (1.2,7.6,2,8.4), (1.3,8.4,1.9,9.6), (1.2,9.6,2,10.4), (49.2,9.6,50,10.4), (60.4,9.6,61.2,10.4), (60.5,10.4,61.1,15.6), (6,11.6,6.8,12.4), (18.8,11.6,19.6,11.7), (49.2,11.6,50,12.4), (18.8,11.7,21.1,12.3), (18.8,12.3,19.6,12.4), (20.5,12.3,21.1,23.6), (6.1,12.4,6.7,15.6), (49.3,12.4,49.9,29.6), (7.6,13.6,8.4,14.4), (39.6,13.6,40.4,14.4), (6,15.6,6.8,16.4), (9.2,15.6,10,16.4), (15.6,15.6,16.4,16.4), (36.4,15.6,37.2,16.4), (39.6,15.6,40.4,16.4), (60.4,15.6,61.2,16.4), (6.1,16.4,6.7,25.6), (9.3,16.4,9.9,25.6), (15.7,16.4,16.3,27.6), (39.7,16.4,40.3,25.6), (10.8,17.6,11.6,18.4), (54,17.6,54.8,18.4), (10.9,18.4,11.5,19.6), (54.1,18.4,54.7,29.6), (10.8,19.6,11.6,20.4), (42.8,19.6,43.6,20.4), (42.9,20.4,43.5,27.6), (20.4,23.6,21.2,24.4), (9.2,25.6,10,26.4), (39.6,25.6,40.4,26.4), (6.1,26.4,6.7,27.6), (39.7,26.4,40.3,39.6), (1.2,27.6,2,28.4), (15.6,27.6,16.4,28.4), (42.8,27.6,43.6,28.4), (1.3,28.4,1.9,29.6), (1.2,29.6,2,30.4), (9.2,29.6,10,30.4), (17.2,29.6,18,30.4), (23.4,29.6,24.4,30.4), (49.2,29.6,50,30.4), (54,29.6,54.8,30.4), (52.4,31.6,53.2,32.4), (52.5,32.4,53.1,37.6), (52.4,37.6,53.2,38.4), (39.6,39.6,40.4,40.4), (42.8,39.6,43.6,40.4), (42.9,40.4,43.5,44.3), (12,40.6,16.8,41.4)])
A(counter, via2, 12.8, 0.8, 0.4, 0.4, 3, 2, 1.4, 40)
R(counter, via2, [(1.4,9.8,1.8,10.2), (60.6,9.8,61,10.2), (7.8,13.8,8.2,14.2), (39.8,13.8,40.2,14.2), (36.6,15.8,37,16.2), (39.8,15.8,40.2,16.2), (11,19.8,11.4,20.2), (43,19.8,43.4,20.2), (6.2,27.8,6.6,28.2), (15.8,27.8,16.2,28.2), (1.4,29.8,1.8,30.2), (6.2,29.8,6.6,30.2), (9.4,29.8,9.8,30.2), (17.4,29.8,17.8,30.2), (23.8,29.8,24.2,30.2), (39.8,39.8,40.2,40.2), (43,39.8,43.4,40.2)])
R(counter, metal3, [(12,0.4,16.8,1.6), (1.2,9.6,2,9.7), (60.4,9.6,61.2,9.7), (-1.9,9.7,2,10.3), (60.4,9.7,64.3,10.3), (1.2,10.3,2,10.4), (60.4,10.3,61.2,10.4), (7.6,13.6,8.4,13.7), (39.6,13.6,40.4,13.7), (7.6,13.7,40.4,14.3), (7.6,14.3,8.4,14.4), (39.6,14.3,40.4,14.4), (36.4,15.6,37.2,15.7), (39.6,15.6,40.4,15.7), (36.4,15.7,40.4,16.3), (36.4,16.3,37.2,16.4), (39.6,16.3,40.4,16.4), (10.8,19.6,11.6,19.7), (42.8,19.6,43.6,19.7), (10.8,19.7,43.6,20.3), (10.8,20.3,11.6,20.4), (42.8,20.3,43.6,20.4), (6,27.6,6.8,27.7), (15.6,27.6,16.4,27.7), (6,27.7,16.4,28.3), (6,28.3,6.8,28.4), (15.6,28.3,16.4,28.4), (1.2,29.6,2,29.7), (6,29.6,6.8,29.7), (9.2,29.6,10,29.7), (17.2,29.6,18,29.7), (23.6,29.6,24.4,29.7), (-1.9,29.7,2,30.3), (6,29.7,24.4,30.3), (1.2,30.3,2,30.4), (6,30.3,6.8,30.4), (9.2,30.3,10,30.4), (17.2,30.3,18,30.4), (23.6,30.3,24.4,30.4), (39.6,39.6,40.4,39.7), (42.8,39.6,43.6,39.7), (39.6,39.7,43.6,40.3), (39.6,40.3,40.4,40.4), (42.8,40.3,43.6,40.4), (12,40.4,16.8,41.6)])
counter.add(gdstk.Reference(bufx2, (5.6,21), rotation=pi, x_reflection=True))
counter.add(gdstk.Reference(bufx2, (5.6,21), rotation=pi))
counter.add(gdstk.Reference(nor2x1, (5.6,21)))
counter.add(gdstk.Reference(nor2x1, (8.8,21), x_reflection=True))
counter.add(gdstk.Reference(fill, (10.4,21)))
counter.add(gdstk.Reference(invx1, (5.6,21), x_reflection=True))
counter.add(gdstk.Reference(and2x2, (15.2,21)))
counter.add(gdstk.Reference(fill, (13.6,21)))
counter.add(gdstk.Reference(fill, (12,21)))
counter.add(gdstk.Reference(fill, (16.8,21), rotation=pi))
counter.add(gdstk.Reference(fill, (15.2,21), rotation=pi))
counter.add(gdstk.Reference(fill, (18.4,21), rotation=pi))
counter.add(gdstk.Reference(invx1, (61.6,21), rotation=pi))
counter.add(gdstk.Reference(fill, (58.4,21), rotation=pi))
counter.add(gdstk.Reference(fill, (56.8,21), rotation=pi))
counter.add(gdstk.Reference(fill, (55.2,21), rotation=pi))
counter.add(gdstk.Reference(dffsr, (56.8,21), rotation=pi, x_reflection=True))
counter.add(gdstk.Reference(dffsr, (53.6,21), rotation=pi))
counter.add(gdstk.Label('vdd', (14.4,1.2), layer=31, texttype=0))
counter.add(gdstk.Label('clk', (43.2,44), layer=51, texttype=0))
counter.add(gdstk.Label('rst', (64,10), layer=62, texttype=0))
counter.add(gdstk.Label('val[0]', (-1.6,10), layer=62, texttype=0))
counter.add(gdstk.Label('val[1]', (-1.6,30), layer=62, texttype=0))

lib.write_gds('counter.gds')
